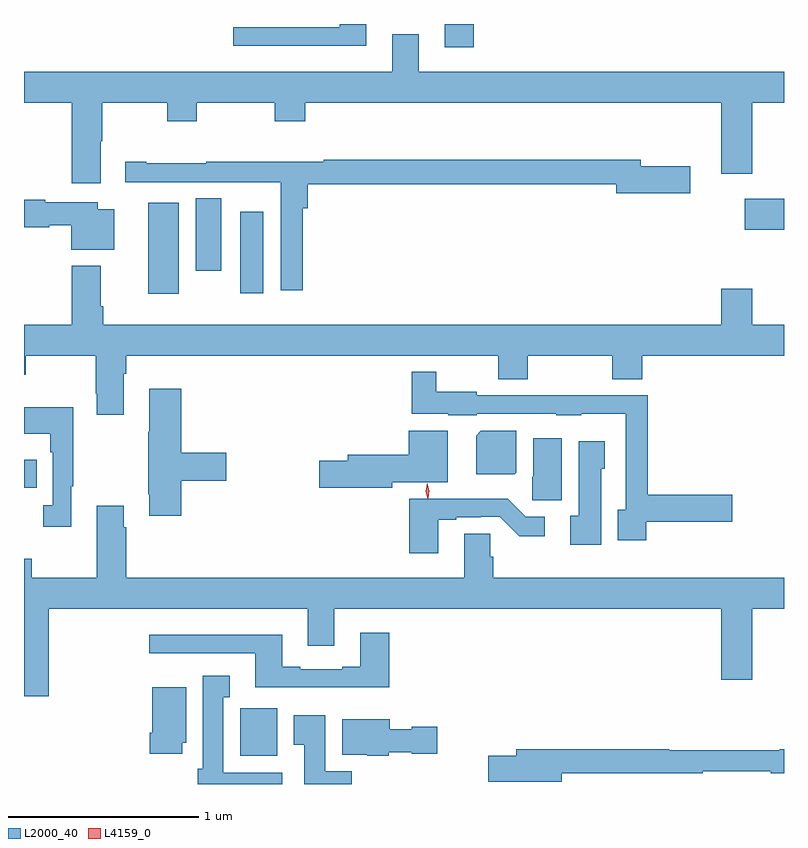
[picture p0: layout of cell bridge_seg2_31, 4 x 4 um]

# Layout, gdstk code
import gdstk
lib = gdstk.Library(unit=1e-6, precision=1e-09)
def R(c, l, rs):  # rectangles x0, y0, x1, y1
    for r in rs: c.add(gdstk.rectangle(r[:2], r[2:], *l))
def P(c, l, *ps):  # polygons
    for p in ps: c.add(gdstk.Polygon(p, *l))
L2000_40 = (2000, 40)
L4159_0 = (4159, 0)

bridge_seg2_31 = lib.new_cell('bridge_seg2_31')
R(bridge_seg2_31, L2000_40, [(701.937,604.238,702.133,604.488), (700.799,605.65,700.865,605.797), (701.453,606.669,701.614,607.15), (701.936,606.672,702.058,607.102), (701.702,606.792,701.836,607.172), (704.592,607.006,704.799,607.171), (703.013,607.968,703.166,608.09)])
P(bridge_seg2_31, L2000_40, [(702.601,608.09),(702.461,608.09),(702.461,608.073),(701.901,608.073),(701.901,607.976),(702.601,607.976)],
  [(701.203,607.472),(701.211,607.472),(701.211,607.676),(701.554,607.676),(701.554,607.577),(701.709,607.577),(701.709,607.676),(702.118,607.676),(702.118,607.577),(702.278,607.577),(702.278,607.676),(704.468,607.676),(704.468,607.302),(704.632,607.302),(704.632,607.676),(704.799,607.676),(704.799,607.84),(702.877,607.84),(702.877,608.035),(702.737,608.035),(702.737,607.84),(700.799,607.84),(700.799,607.676),(701.051,607.676),(701.051,607.251),(701.203,607.251)],
  [(702.266,607.121),(702.293,607.121),(702.293,607.246),(703.916,607.246),(703.916,607.199),(704.305,607.199),(704.305,607.341),(704.044,607.341),(704.044,607.375),(702.376,607.375),(702.376,607.364),(702.174,607.364),(702.174,607.366),(701.759,607.366),(701.759,607.356),(701.443,607.356),(701.443,607.366),(701.331,607.366),(701.331,607.257),(701.94,607.257),(701.94,607.256),(702.15,607.256),(702.15,606.69),(702.266,606.69)],
  [(701.275,607.114),(701.188,607.114),(701.188,607.153),(700.912,607.153),(700.912,607.166),(700.8,607.166),(700.8,607.019),(700.932,607.019),(700.932,607.031),(701.048,607.031),(701.048,606.902),(701.275,606.902)],
  [(700.799,606.245),(700.809,606.245),(700.809,606.344),(701.176,606.344),(701.176,606.145),(701.183,606.145),(701.183,606.033),(701.323,606.033),(701.323,606.248),(701.336,606.248),(701.336,606.344),(703.294,606.344),(703.294,606.22),(703.449,606.22),(703.449,606.344),(703.894,606.344),(703.894,606.22),(704.054,606.22),(704.054,606.344),(704.799,606.344),(704.799,606.508),(704.632,606.508),(704.632,606.697),(704.468,606.697),(704.468,606.508),(701.216,606.508),(701.216,606.604),(701.203,606.604),(701.203,606.817),(701.051,606.817),(701.051,606.508),(700.799,606.508)],
  [(704.074,605.47),(704.527,605.47),(704.527,605.612),(704.081,605.612),(704.081,606.135),(703.831,606.135),(703.831,606.137),(703.599,606.137),(703.599,606.135),(703.182,606.135),(703.182,606.154),(702.97,606.154),(702.97,606.259),(702.841,606.259),(702.841,606.038),(703.032,606.038),(703.032,606.032),(703.182,606.032),(703.182,606.039),(703.599,606.039),(703.599,606.032),(703.731,606.032),(703.731,606.038),(703.965,606.038),(703.965,605.534),(703.925,605.534),(703.925,605.373),(704.074,605.373)],
  [(701.627,605.687),(701.863,605.687),(701.863,605.834),(701.627,605.834),(701.627,606.169),(701.459,606.169),(701.459,605.945),(701.452,605.945),(701.452,605.614),(701.459,605.614),(701.459,605.502),(701.627,605.502)],
  [(701.047,605.657),(701.059,605.657),(701.059,606.073),(700.799,606.073),(700.799,605.933),(700.938,605.933),(700.938,605.837),(700.95,605.837),(700.95,605.558),(700.899,605.558),(700.899,605.445),(701.047,605.445)],
  [(703.39,605.728),(703.39,605.95),(703.204,605.95),(703.178,605.924),(703.178,605.72),(703.382,605.72)],
  [(702.738,605.678),(703.03,605.678),(703.03,605.948),(702.824,605.948),(702.824,605.822),(702.503,605.822),(702.503,605.792),(702.354,605.792),(702.354,605.65),(702.738,605.65)],
  [(703.63,605.911),(703.478,605.911),(703.478,605.706),(703.474,605.706),(703.474,605.583),(703.63,605.583)],
  [(703.837,605.748),(703.855,605.748),(703.855,605.893),(703.718,605.893),(703.718,605.502),(703.673,605.502),(703.673,605.348),(703.837,605.348)],
  [(702.979,605.481),(703.075,605.481),(703.075,605.493),(703.202,605.493),(703.202,605.496),(703.302,605.496),(703.405,605.394),(703.54,605.394),(703.54,605.496),(703.44,605.496),(703.345,605.591),(702.827,605.591),(702.827,605.304),(702.979,605.304)],
  [(700.799,605.275),(700.799,604.551),(700.928,604.551),(700.928,605.012),(702.293,605.012),(702.293,604.818),(702.433,604.818),(702.433,605.012),(704.468,605.012),(704.468,604.638),(704.632,604.638),(704.632,605.012),(704.799,605.012),(704.799,605.176),(703.268,605.176),(703.268,605.286),(703.254,605.286),(703.254,605.408),(703.115,605.408),(703.115,605.176),(701.336,605.176),(701.336,605.441),(701.323,605.441),(701.323,605.554),(701.183,605.554),(701.183,605.176),(700.839,605.176),(700.839,605.275)],
  [(702.722,604.885),(702.569,604.885),(702.569,604.708),(702.473,604.708),(702.473,604.695),(702.253,604.695),(702.253,604.708),(702.157,604.708),(702.157,604.876),(701.457,604.876),(701.457,604.779),(702.017,604.779),(702.017,604.598),(702.722,604.598)],
  [(702.157,604.15),(701.848,604.15),(701.848,604.547),(701.881,604.547),(701.881,604.66),(701.741,604.66),(701.741,604.17),(701.714,604.17),(701.714,604.09),(702.157,604.09)],
  [(701.632,604.308),(701.653,604.308),(701.653,604.6),(701.474,604.6),(701.474,604.36),(701.462,604.36),(701.462,604.248),(701.632,604.248)],
  [(702.524,604.156),(702.385,604.156),(702.385,604.453),(702.218,604.453),(702.218,604.297),(702.275,604.297),(702.275,604.09),(702.524,604.09)],
  [(702.72,604.256),(702.84,604.256),(702.84,604.249),(702.973,604.249),(702.973,604.391),(702.84,604.391),(702.84,604.378),(702.724,604.378),(702.724,604.432),(702.473,604.432),(702.473,604.244),(702.606,604.244),(702.606,604.238),(702.72,604.238)],
  [(703.63,604.146),(704.372,604.146),(704.372,604.158),(704.728,604.158),(704.728,604.146),(704.799,604.146),(704.799,604.274),(704.777,604.274),(704.777,604.267),(704.195,604.267),(704.195,604.274),(703.391,604.274),(703.391,604.238),(703.242,604.238),(703.242,604.103),(703.63,604.103)])
P(bridge_seg2_31, L4159_0, [(702.925,605.592),(702.925,605.592),(702.913,605.632),(702.921,605.674),(702.921,605.674),(702.921,605.674),(702.933,605.633),(702.926,605.592)])

lib.write_gds('bridge_seg2_31.gds')
